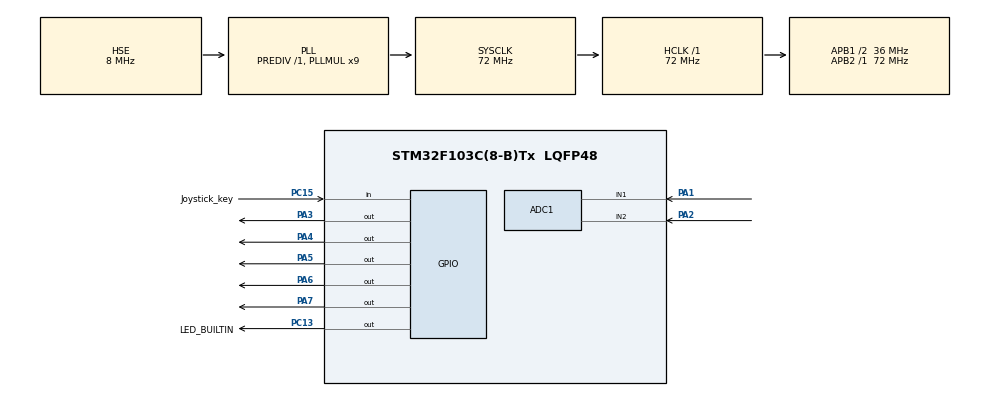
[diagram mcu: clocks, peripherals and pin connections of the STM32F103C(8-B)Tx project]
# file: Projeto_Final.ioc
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Mcu.Family=STM32F1
RCC.PLLSourceVirtual=RCC_PLLSOURCE_HSE
NVIC.ADC1_2_IRQn=true\:5\:0\:false\:false\:true\:true\:true
Dma.ADC1.0.Instance=DMA1_Channel1
FREERTOS.Tasks01=defaultTask,0,128,StartDefaultTask,Default,NULL
PD1-OSC_OUT.Mode=HSE-External-Oscillator
ADC1.ContinuousConvMode=ENABLE
SH.ADCx_IN2.0=ADC1_IN2,IN2
ADC1.SamplingTime-6\#ChannelRegularConversion=ADC_SAMPLETIME_239CYCLES_5
PC13-TAMPER-RTC.Signal=GPIO_Output
PD0-OSC_IN.Signal=RCC_OSC_IN
RCC.APB1CLKDivider=RCC_HCLK_DIV2
PC15-OSC32_OUT.GPIO_Label=Joystick_key
RCC.SYSCLKSource=RCC_SYSCLKSOURCE_PLLCLK
ProjectManager.StackSize=0x400
PD1-OSC_OUT.Signal=RCC_OSC_OUT
RCC.ADCPresc=RCC_ADCPCLK2_DIV6
PA13.Signal=SYS_JTMS-SWDIO
Dma.ADC1.0.PeriphDataAlignment=DMA_PDATAALIGN_WORD
ADC1.Channel-5\#ChannelRegularConversion=ADC_CHANNEL_1
ProjectManager.TargetToolchain=STM32CubeIDE
Dma.ADC1.0.Mode=DMA_CIRCULAR
RCC.HCLKFreq_Value=72000000
Dma.ADC1.0.Priority=DMA_PRIORITY_LOW
RCC.APB2TimFreq_Value=72000000
Dma.ADC1.0.Direction=DMA_PERIPH_TO_MEMORY
RCC.USBFreq_Value=72000000
PC15-OSC32_OUT.Signal=GPIO_Input
Dma.ADC1.0.MemDataAlignment=DMA_MDATAALIGN_WORD
PA1.Signal=ADCx_IN1
RCC.AHBFreq_Value=72000000
PD0-OSC_IN.Mode=HSE-External-Oscillator
PA5.Signal=GPIO_Output
board=FreeRTOS_LC5110_Joystick
PC13-TAMPER-RTC.GPIO_Label=LED_BUILTIN
RCC.PLLMUL=RCC_PLL_MUL9
ADC1.Channel-6\#ChannelRegularConversion=ADC_CHANNEL_2
RCC.APB2Freq_Value=72000000
PA14.Mode=Serial_Wire
Dma.ADC1.0.PeriphInc=DMA_PINC_DISABLE
PC15-OSC32_OUT.GPIO_PuPd=GPIO_PULLUP
ADC1.NbrOfConversion=2
PA13.Mode=Serial_Wire
Mcu.Name=STM32F103C(8-B)Tx
PA2.Signal=ADCx_IN2
VP_FREERTOS_VS_ENABLE.Mode=Enabled
PA4.Signal=GPIO_Output
RCC.SYSCLKFreq_VALUE=72000000
Mcu.Package=LQFP48
PA6.Signal=GPIO_Output
ADC1.master=1
NVIC.TimeBase=TIM4_IRQn
NVIC.TimeBaseIP=TIM4
PA14.Signal=SYS_JTCK-SWCLK
Dma.ADC1.0.MemInc=DMA_MINC_ENABLE
ProjectManager.HeapSize=0x200
VP_SYS_VS_tim4.Mode=TIM4
ADC1.SamplingTime-5\#ChannelRegularConversion=ADC_SAMPLETIME_239CYCLES_5
NVIC.PriorityGroup=NVIC_PRIORITYGROUP_4
ADC1.NbrOfConversionFlag=1
SH.ADCx_IN1.0=ADC1_IN1,IN1
RCC.APB1TimFreq_Value=72000000
NVIC.DMA1_Channel1_IRQn=true\:5\:0\:false\:false\:true\:true\:false
FREERTOS.configMAX_TASK_NAME_LEN=30
NVIC.TIM4_IRQn=true\:0\:0\:false\:false\:true\:false\:false
ADC1.Rank-6\#ChannelRegularConversion=2
Dma.Request0=ADC1
RCC.APB1Freq_Value=36000000
ADC1.Rank-5\#ChannelRegularConversion=1
PA3.Signal=GPIO_Output
PA7.Signal=GPIO_Output

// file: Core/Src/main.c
#include "main.h"
#include "stm32f1xx_hal.h"
#include "cmsis_os.h"

/* USER CODE BEGIN Includes */
#include "atraso.h"
#include "defPrincipais.h"
#include "NOKIA5110_fb.h"
#include "figuras.h"
#include "PRNG_LFSR.h"

/* USER CODE END Includes */

ADC_HandleTypeDef hadc1;
DMA_HandleTypeDef hdma_adc1;

//osThreadId defaultTaskHandle;

/* USER CODE BEGIN PV */
/* Private variables ---------------------------------------------------------*/
uint32_t ADC_buffer[2];
uint32_t valor_ADC[2];
/* USER CODE END PV */

void SystemClock_Config(void);
static void MX_GPIO_Init(void);
static void MX_DMA_Init(void);
static void MX_ADC1_Init(void);

/* USER CODE BEGIN PFP */
/* Private function prototypes -----------------------------------------------*/
/* USER CODE END PFP */

/* USER CODE BEGIN 0 */

void HAL_ADC_ConvCpltCallback(ADC_HandleTypeDef *hadc) {
	if (hadc->Instance == ADC1) {
		valor_ADC[0] = ADC_buffer[0];
		valor_ADC[1] = ADC_buffer[1];
	}
}

//---------------------------------------------------------------------------------------------------
// Tarefa para atualizar periodicamente o LCD
void vTask_LCD_Print(void *pvParameters) {
	while (1)
		imprime_LCD();
}

//---------------------------------------------------------------------------------------------------
#define X_LIMIT_LEFT		1
#define X_LIMIT_RIGHT		82
#define Y_LIMIT_UP 			9
#define Y_LIMIT_DOWN		46
#define MAX_SNAKE_LENGTH	30

uint32_t x[MAX_SNAKE_LENGTH];
uint32_t y[MAX_SNAKE_LENGTH];
uint32_t temp_x;
uint32_t temp_y;
uint32_t x_swap;
uint32_t y_swap;
uint32_t food_x;
uint32_t food_y;
uint32_t speed_delay = 500;
uint32_t score = 0;

uint32_t snake_length = 6;

enum{
	STOP,
	LEFT,
	RIGHT,
	UP,
	DOWN,
}movement_position;

xQueueHandle movement_queue;

#define MOVEMENT_QUEUE_SIZE		1
#define MOVEMENT_QUEUE_LENGTH	5

/**
 * @brief Atualiza os desenhos na tela
 *
 * @retval
 */
void draw_screen(void)
{
	struct pontos_t screen;

	screen.x1 = 0;
	screen.y1 = 7;
	screen.x2 = 83;
	screen.y2 = 47;

	goto_XY(0,0);
	string_LCD_Nr("score ", score, 3);
	desenha_retangulo(&screen, 1);				// Desenha os limites da tela
	desenha_circulo(food_x, food_y, 1, 1); 		// Desenha a comida
}

/**
 * @brief Gera uma nova comida em uma posição aleatória
 * @param
 * @retval
 */
void create_food(void)
{
	uint32_t rand_prng = prng_LFSR();
/*
	food_x = rand_prng & (0x00000053 | 0x00000005);		// Limita o valor entre 1 e 83
	food_y = rand_prng & (0x0000002F | 0x00000009);		// Limita o valor entre 7 e 47

	// Se a posição da comida estiver fora dos limites, gera outro valor
	while(food_x <= 3 || food_x >= 85)
	{
		food_x = rand_prng & (0x00000053 | 0x00000005);
	}

	while(food_y <= 9 || food_y >= 45)
	{
		food_y = rand_prng & (0x0000002F | 0x00000009);
	}
*/

	do
	{
		rand_prng = prng_LFSR();
		food_x = rand_prng & (0x00000053 | 0x00000005);
	} while(food_x < 2 || food_x > 79);

	do
	{
		rand_prng = prng_LFSR();
		food_y = rand_prng & (0x0000002F | 0x00000009);
	} while(food_y < 10 || food_y > 42);

}

/**
 * @brief
 * @param
 * @retval
 */
void check_colision(void)
{
	uint32_t i;

	// Colisão com a parede ou com o próprio corpo
	for(i = 1; i < snake_length; i++)
	{
		if( (x[0] <= X_LIMIT_LEFT || x[0] >= X_LIMIT_RIGHT) || (y[0] <= Y_LIMIT_UP || y[0] >= Y_LIMIT_DOWN) || (x[i] == x[0] && y[i] == y[0]))
		{

			limpa_LCD();
			escreve2fb((unsigned char*) game_over);
			imprime_LCD();
			while(1);
		}
	}
}

/**
 * @brief
 * @param
 * @retval
 */
void check_food_colision(void)
{
	if(x[0] == food_x || x[0] == food_x + 1 || x[0] == food_x + 2 || x[0] == food_x - 1)
	{
		if(y[0] == food_y || y[0] == food_y + 1 || y[0] == food_y + 2 || y[0] == food_y - 1)
		{
			score++;
			snake_length++;
			//speed_delay-= 50;

			// Apaga o círculo antigo e gera outro
			desenha_circulo(food_x, food_y, 1, 0);
			create_food();
		}
	}
}

/**
 * @brief Controla o movimento da cobra
 * @param
 * @retval
 */
void move_snake(void) {
	uint32_t i;

	for (i = 0; i < snake_length; i++) {
		x_swap = x[i];
		y_swap = y[i];
		x[i] = temp_x;
		y[i] = temp_y;
		temp_x = x_swap;
		temp_y = y_swap;
	}

	limpa_LCD();
	draw_screen();

	for (i = 0; i < snake_length; i++) {
		desenha_circulo(x[i], y[i], 1, 1);
	}
}

/**
 * @brief Verifica os valores do ADC e aplica o movimento
 * @param
 * @retval
 */
void check_movement(void)
{
	/*
	if (valor_ADC[0] < 20)
		move_direction = RIGHT;

	if (valor_ADC[0] > 3400)
		move_direction = LEFT;

	if (valor_ADC[1] < 20)
		move_direction = DOWN;

	if (valor_ADC[1] > 3400)
		move_direction = UP;
*/
	uint32_t move_direction;
	xQueueReceive(movement_queue, &move_direction, 20);

	switch(move_direction)
	{
		case LEFT:
			temp_x = x[0] - 3;
			temp_y = y[0];
			break;

		case RIGHT:
			temp_x = x[0] + 3;
			temp_y = y[0];
			break;

		case UP:
			temp_x = x[0];
			temp_y = y[0] + 3;
			break;

		case DOWN:
			temp_x = x[0];
			temp_y = y[0] - 3;
			break;
	}
}

void vTask_Joystick(void *pvParameters)
{
	uint32_t move_direction = RIGHT;

	while(1)
	{
		if (valor_ADC[0] < 20)
			move_direction = RIGHT;
		if (valor_ADC[0] > 3400)
			move_direction = LEFT;
		if (valor_ADC[1] < 20)
			move_direction = DOWN;
		if (valor_ADC[1] > 3400)
			move_direction = UP;

		xQueueSend(movement_queue, &move_direction, 10);
	}
}

/**
 * @brief Tarefa principal do jogo
 * @param *pvParameters: Parâmetros passados para a função
 * @retval nenhum
 */
void vTask_Game(void *pvParameters) {
	uint32_t i;

	// Cria a primeira comida
	food_x = 10;
	food_y = 15;

	draw_screen();
	for (i = 0; i < snake_length; i++) {
		x[i] = 25 - 3 * i;
		y[i] = 30;
	}
	for (i = 0; i < snake_length; i++) {
		desenha_circulo(x[i], y[i], 1, 1);
		vTaskDelay(150/portTICK_RATE_MS);
	}

	//move_direction = RIGHT;		// Inicia o movimento da cobra

	//vTaskDelay(1000/portTICK_RATE_MS);

	while (1) {
		//check_colision();
		check_food_colision();
		check_movement();
		move_snake();

		vTaskDelay(speed_delay/ portTICK_RATE_MS);
	}

}

/**
 * @brief
 * @param
 * @retval
 */
void LED_Task(void *pvParameters) {
	while (1) {
		HAL_GPIO_TogglePin(GPIOC, GPIO_PIN_13);
		vTaskDelay(500 / portTICK_RATE_MS);
	}
}

//---------------------------------------------------------------------------------------------------
/* USER CODE END 0 */

int main(void) {
	/* USER CODE BEGIN 1 */
	uint32_t semente_PRNG = 1;

	/* USER CODE END 1 */

	/* MCU Configuration----------------------------------------------------------*/

	/* Reset of all peripherals, Initializes the Flash interface and the Systick. */
	HAL_Init();

	/* Configure the system clock */
	SystemClock_Config();

	/* Initialize all configured peripherals */
	MX_GPIO_Init();
	MX_DMA_Init();
	MX_ADC1_Init();

	/* USER CODE BEGIN 2 */

	HAL_ADC_Start_DMA(&hadc1, (uint32_t*) ADC_buffer, 2);
	HAL_ADC_Start_IT(&hadc1);

	// inicializa LCD 5110
	inic_LCD();
	limpa_LCD();
	escreve2fb((unsigned char*) snake);
	imprime_LCD();
	HAL_Delay(1200);
	limpa_LCD();
	escreve2fb((unsigned char*) press_button);
	imprime_LCD();

	while (HAL_GPIO_ReadPin(GPIOC, GPIO_PIN_15)) // enquando nao pressionar joystick fica travado
	{
		semente_PRNG++;	// semente para o gerador de n�meros pseudoaleatorios
						// pode ser empregado o ADC lendo uma entrada flutuante para gerar a semente.
	}

	init_LFSR(semente_PRNG);// inicializacao para geracao de numeros pseudoaleatorios
	//rand_prng = prng_LFSR();	// sempre q a funcao prng() for chamada um novo nr � gerado.

	limpa_LCD();
	imprime_LCD();

	/* USER CODE END 2 */

	/* Create the thread(s) */
	/* definition and creation of defaultTask */
	// osThreadDef(defaultTask, StartDefaultTask, osPriorityNormal, 0, 128);
	// defaultTaskHandle = osThreadCreate(osThread(defaultTask), NULL);
	/* USER CODE BEGIN RTOS_THREADS */

	xTaskCreate(vTask_LCD_Print, "Task 1", 100, NULL, 1, NULL);
	xTaskCreate(vTask_Game, "Game Task", 500, NULL, 1, NULL);
	xTaskCreate(vTask_Joystick, "Joystick Task", 100, NULL, 1, NULL);
	xTaskCreate(LED_Task, "LED", 100, NULL, 1, NULL);

	/* USER CODE END RTOS_THREADS */

	/* USER CODE BEGIN RTOS_QUEUES */
	/* add queues, ... */
	movement_queue = xQueueCreate(1 ,4);
	/* USER CODE END RTOS_QUEUES */

	/* Start scheduler */
	vTaskStartScheduler();// apos este comando o RTOS passa a executar as tarefas

	/* We should never get here as control is now taken by the scheduler */

	/* Infinite loop */
	while (1) {

	}

}

void SystemClock_Config(void) {

	RCC_OscInitTypeDef RCC_OscInitStruct;
	RCC_ClkInitTypeDef RCC_ClkInitStruct;
	RCC_PeriphCLKInitTypeDef PeriphClkInit;

	/**Initializes the CPU, AHB and APB busses clocks
	 */
	RCC_OscInitStruct.OscillatorType = RCC_OSCILLATORTYPE_HSE;
	RCC_OscInitStruct.HSEState = RCC_HSE_ON;
	RCC_OscInitStruct.HSEPredivValue = RCC_HSE_PREDIV_DIV1;
	RCC_OscInitStruct.HSIState = RCC_HSI_ON;
	RCC_OscInitStruct.PLL.PLLState = RCC_PLL_ON;
	RCC_OscInitStruct.PLL.PLLSource = RCC_PLLSOURCE_HSE;
	RCC_OscInitStruct.PLL.PLLMUL = RCC_PLL_MUL9;
	if (HAL_RCC_OscConfig(&RCC_OscInitStruct) != HAL_OK) {
		_Error_Handler(__FILE__, __LINE__);
	}

	/**Initializes the CPU, AHB and APB busses clocks
	 */
	RCC_ClkInitStruct.ClockType = RCC_CLOCKTYPE_HCLK | RCC_CLOCKTYPE_SYSCLK
			| RCC_CLOCKTYPE_PCLK1 | RCC_CLOCKTYPE_PCLK2;
	RCC_ClkInitStruct.SYSCLKSource = RCC_SYSCLKSOURCE_PLLCLK;
	RCC_ClkInitStruct.AHBCLKDivider = RCC_SYSCLK_DIV1;
	RCC_ClkInitStruct.APB1CLKDivider = RCC_HCLK_DIV2;
	RCC_ClkInitStruct.APB2CLKDivider = RCC_HCLK_DIV1;

	if (HAL_RCC_ClockConfig(&RCC_ClkInitStruct, FLASH_LATENCY_2) != HAL_OK) {
		_Error_Handler(__FILE__, __LINE__);
	}

	PeriphClkInit.PeriphClockSelection = RCC_PERIPHCLK_ADC;
	PeriphClkInit.AdcClockSelection = RCC_ADCPCLK2_DIV6;
	if (HAL_RCCEx_PeriphCLKConfig(&PeriphClkInit) != HAL_OK) {
		_Error_Handler(__FILE__, __LINE__);
	}

	/**Configure the Systick interrupt time
	 */
	HAL_SYSTICK_Config(HAL_RCC_GetHCLKFreq() / 1000);

	/**Configure the Systick
	 */
	HAL_SYSTICK_CLKSourceConfig(SYSTICK_CLKSOURCE_HCLK);

	/* SysTick_IRQn interrupt configuration */
	HAL_NVIC_SetPriority(SysTick_IRQn, 15, 0);
}

/* ADC1 init function */
static void MX_ADC1_Init(void) {

	ADC_ChannelConfTypeDef sConfig;

	/**Common config
	 */
	hadc1.Instance = ADC1;
	hadc1.Init.ScanConvMode = ADC_SCAN_ENABLE;
	hadc1.Init.ContinuousConvMode = ENABLE;
	hadc1.Init.DiscontinuousConvMode = DISABLE;
	hadc1.Init.ExternalTrigConv = ADC_SOFTWARE_START;
	hadc1.Init.DataAlign = ADC_DATAALIGN_RIGHT;
	hadc1.Init.NbrOfConversion = 2;
	if (HAL_ADC_Init(&hadc1) != HAL_OK) {
		_Error_Handler(__FILE__, __LINE__);
	}

	/**Configure Regular Channel
	 */
	sConfig.Channel = ADC_CHANNEL_1;
	sConfig.Rank = ADC_REGULAR_RANK_1;
	sConfig.SamplingTime = ADC_SAMPLETIME_239CYCLES_5;
	if (HAL_ADC_ConfigChannel(&hadc1, &sConfig) != HAL_OK) {
		_Error_Handler(__FILE__, __LINE__);
	}

	/**Configure Regular Channel
	 */
	sConfig.Channel = ADC_CHANNEL_2;
	sConfig.Rank = ADC_REGULAR_RANK_2;
	if (HAL_ADC_ConfigChannel(&hadc1, &sConfig) != HAL_OK) {
		_Error_Handler(__FILE__, __LINE__);
	}

}

static void MX_DMA_Init(void) {
	/* DMA controller clock enable */
	__HAL_RCC_DMA1_CLK_ENABLE();

	/* DMA interrupt init */
	/* DMA1_Channel1_IRQn interrupt configuration */
	HAL_NVIC_SetPriority(DMA1_Channel1_IRQn, 5, 0);
	HAL_NVIC_EnableIRQ(DMA1_Channel1_IRQn);

}

/** Configure pins as
 * Analog
 * Input
 * Output
 * EVENT_OUT
 * EXTI
 */
static void MX_GPIO_Init(void) {

	GPIO_InitTypeDef GPIO_InitStruct;

	/* GPIO Ports Clock Enable */
	__HAL_RCC_GPIOC_CLK_ENABLE();
	__HAL_RCC_GPIOD_CLK_ENABLE();
	__HAL_RCC_GPIOA_CLK_ENABLE();

	/*Configure GPIO pin Output Level */
	HAL_GPIO_WritePin(GPIOC, GPIO_PIN_13, GPIO_PIN_RESET);

	/*Configure GPIO pin Output Level */
	HAL_GPIO_WritePin(GPIOA,
	GPIO_PIN_3 | GPIO_PIN_4 | GPIO_PIN_5 | GPIO_PIN_6 | GPIO_PIN_7,
			GPIO_PIN_RESET);

	/*Configure GPIO pin : PC13 */
	GPIO_InitStruct.Pin = GPIO_PIN_13;
	GPIO_InitStruct.Mode = GPIO_MODE_OUTPUT_PP;
	GPIO_InitStruct.Speed = GPIO_SPEED_FREQ_LOW;
	HAL_GPIO_Init(GPIOC, &GPIO_InitStruct);

	/*Configure GPIO pin : PC15 */
	GPIO_InitStruct.Pin = GPIO_PIN_15;
	GPIO_InitStruct.Mode = GPIO_MODE_INPUT;
	GPIO_InitStruct.Pull = GPIO_PULLUP;
	HAL_GPIO_Init(GPIOC, &GPIO_InitStruct);

	/*Configure GPIO pins : PA3 PA4 PA5 PA6
	 PA7 */
	GPIO_InitStruct.Pin = GPIO_PIN_3 | GPIO_PIN_4 | GPIO_PIN_5 | GPIO_PIN_6
			| GPIO_PIN_7;
	GPIO_InitStruct.Mode = GPIO_MODE_OUTPUT_PP;
	GPIO_InitStruct.Speed = GPIO_SPEED_FREQ_LOW;
	HAL_GPIO_Init(GPIOA, &GPIO_InitStruct);

}

/* StartDefaultTask function */
//void StartDefaultTask(void const * argument)
//{
/* USER CODE BEGIN 5 */
/* Infinite loop */
//  for(;;)
//  {
//    osDelay(1);
//  }
/* USER CODE END 5 */
//}
void HAL_TIM_PeriodElapsedCallback(TIM_HandleTypeDef *htim) {
	if (htim->Instance == TIM4) {
		HAL_IncTick();
	}
}

void _Error_Handler(char *file, int line) {
	while (1) {
	}
}

/************************ (C) COPYRIGHT STMicroelectronics *****END OF FILE****/
